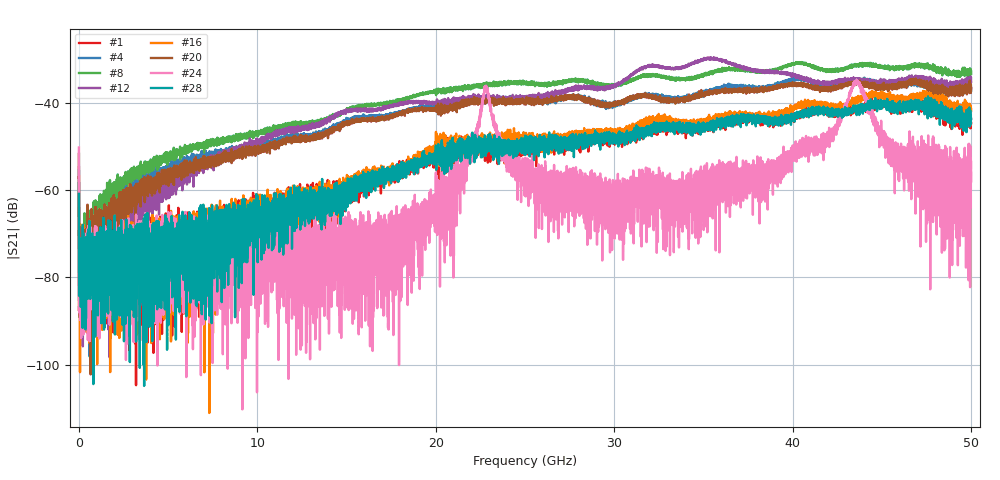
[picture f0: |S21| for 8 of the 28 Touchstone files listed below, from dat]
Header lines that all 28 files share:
!Created with skrf (http://scikit-rf.org).
# Hz S RI R 50.0
!freq ReS11 ImS11 ReS21 ImS21 ReS12 ImS12 ReS22 ImS22
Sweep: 300 kHz to 50 GHz
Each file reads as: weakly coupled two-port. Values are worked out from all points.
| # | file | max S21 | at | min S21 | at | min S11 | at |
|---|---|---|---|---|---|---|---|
| 1 | drift01_61_so2o3o4.s2p | -38.50 dB | 47.57 GHz | -104.7 dB | 3.2 GHz | -6.6 dB | 47.28 GHz |
| 2 | drift01_61_so3.s2p | -34.33 dB | 47.26 GHz | -99.8 dB | 95.3 MHz | -6.6 dB | 47.12 GHz |
| 3 | drift01_61_so3o4.s2p | -29.45 dB | 35.36 GHz | -99.2 dB | 105.3 MHz | -6.6 dB | 47.14 GHz |
| 4 | drift01_62_so1.s2p | -33.98 dB | 40.55 GHz | -98.1 dB | 595.3 MHz | -27.9 dB | 18.27 GHz |
| 5 | drift01_62_so1o2.s2p | -28.70 dB | 35.63 GHz | -102.3 dB | 425.3 MHz | -25.8 dB | 5.3 MHz |
| 6 | drift01_62_so1o2o3o4.s2p | -34.62 dB | 43.53 GHz | -114.9 dB | 10.43 GHz | -6.5 dB | 47.28 GHz |
| 7 | drift01_62_so1o2o4.s2p | -36.89 dB | 47.9 GHz | -109.8 dB | 830.3 MHz | -6.2 dB | 29.61 GHz |
| 8 | drift01_62_so1o4.s2p | -30.57 dB | 40.52 GHz | -90.1 dB | 70.3 MHz | -55.7 dB | 30.92 GHz |
| 9 | drift01_62_so2o3.s2p | -31.47 dB | 46.66 GHz | -96.6 dB | 10.3 MHz | -6.6 dB | 47.12 GHz |
| 10 | drift01_62_so2o3o4.s2p | -38.73 dB | 47.75 GHz | -115.3 dB | 5.015 GHz | -6.6 dB | 47.28 GHz |
| 11 | drift01_62_so3.s2p | -34.20 dB | 47.01 GHz | -93.3 dB | 170.3 MHz | -6.6 dB | 47.14 GHz |
| 12 | drift01_62_so3o4.s2p | -29.47 dB | 35.41 GHz | -98.3 dB | 1.72 GHz | -6.5 dB | 47.18 GHz |
| 13 | drift01_63_so1.s2p | -34.03 dB | 40.53 GHz | -93.6 dB | 200.3 MHz | -27.9 dB | 18.26 GHz |
| 14 | drift01_63_so1o2.s2p | -28.67 dB | 36.03 GHz | -102.9 dB | 690.3 MHz | -25.8 dB | 5.3 MHz |
| 15 | drift01_63_so1o2o3o4.s2p | -34.73 dB | 43.53 GHz | -126.2 dB | 3.37 GHz | -6.5 dB | 47.28 GHz |
| 16 | drift01_63_so1o2o4.s2p | -36.63 dB | 47.79 GHz | -111.1 dB | 7.31 GHz | -6.1 dB | 29.61 GHz |
| 17 | drift01_63_so1o4.s2p | -30.59 dB | 40.24 GHz | -103.3 dB | 105.3 MHz | -55.3 dB | 39.89 GHz |
| 18 | drift01_63_so2o3.s2p | -31.34 dB | 47.09 GHz | -95.7 dB | 345.3 MHz | -6.5 dB | 47.15 GHz |
| 19 | drift01_63_so2o3o4.s2p | -38.34 dB | 47.21 GHz | -101.1 dB | 3.77 GHz | -6.5 dB | 47.26 GHz |
| 20 | drift01_63_so3.s2p | -34.32 dB | 46.91 GHz | -102.2 dB | 655.3 MHz | -6.5 dB | 47.27 GHz |
| 21 | drift01_63_so3o4.s2p | -29.58 dB | 35.29 GHz | -104.5 dB | 555.3 MHz | -6.6 dB | 47.15 GHz |
| 22 | drift01_64_so1.s2p | -33.97 dB | 40.22 GHz | -88.1 dB | 120.3 MHz | -28.0 dB | 18.09 GHz |
| 23 | drift01_64_so1o2.s2p | -28.66 dB | 35.58 GHz | -100.6 dB | 110.3 MHz | -25.7 dB | 5.3 MHz |
| 24 | drift01_64_so1o2o3o4.s2p | -34.62 dB | 43.59 GHz | -110.3 dB | 9.16 GHz | -6.6 dB | 47.28 GHz |
| 25 | drift01_64_so1o2o4.s2p | -36.47 dB | 47.91 GHz | -104.5 dB | 2.985 GHz | -6.2 dB | 29.61 GHz |
| 26 | drift01_64_so1o4.s2p | -30.54 dB | 40.5 GHz | -94.6 dB | 225.3 MHz | -55.3 dB | 39.88 GHz |
| 27 | drift01_64_so2o3.s2p | -31.45 dB | 46.91 GHz | -93.1 dB | 120.3 MHz | -6.6 dB | 47.21 GHz |
| 28 | drift01_64_so2o3o4.s2p | -38.44 dB | 47.59 GHz | -104.9 dB | 3.655 GHz | -6.6 dB | 47.15 GHz |
